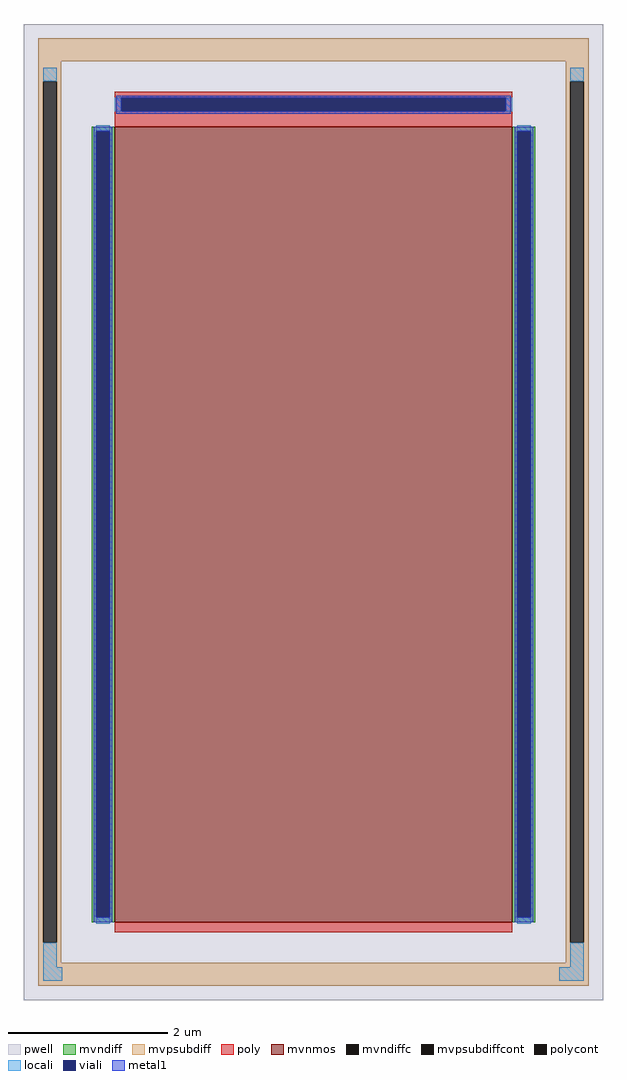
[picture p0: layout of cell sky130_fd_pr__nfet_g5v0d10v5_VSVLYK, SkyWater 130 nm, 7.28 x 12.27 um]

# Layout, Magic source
magic
tech sky130A
magscale 1 2
<< pwell >>
rect -728 -1227 728 1227
<< mvnmos >>
rect -500 -1031 500 969
<< mvndiff >>
rect -558 957 -500 969
rect -558 -1019 -546 957
rect -512 -1019 -500 957
rect -558 -1031 -500 -1019
rect 500 957 558 969
rect 500 -1019 512 957
rect 546 -1019 558 957
rect 500 -1031 558 -1019
<< mvndiffc >>
rect -546 -1019 -512 957
rect 512 -1019 546 957
<< mvpsubdiff >>
rect -692 1133 692 1191
rect -692 1083 -634 1133
rect -692 -1083 -680 1083
rect -646 -1083 -634 1083
rect 634 1083 692 1133
rect -692 -1133 -634 -1083
rect 634 -1083 646 1083
rect 680 -1083 692 1083
rect 634 -1133 692 -1083
rect -692 -1191 692 -1133
<< mvpsubdiffcont >>
rect -680 -1083 -646 1083
rect 646 -1083 680 1083
<< poly >>
rect -500 1041 500 1057
rect -500 1007 -484 1041
rect 484 1007 500 1041
rect -500 969 500 1007
rect -500 -1057 500 -1031
<< polycont >>
rect -484 1007 484 1041
<< locali >>
rect -680 1083 -646 1117
rect 646 1083 680 1117
rect -500 1007 -484 1041
rect 484 1007 500 1041
rect -546 957 -512 973
rect -546 -1035 -512 -1019
rect 512 957 546 973
rect 512 -1035 546 -1019
rect -680 -1145 -646 -1083
rect 646 -1145 680 -1083
rect -680 -1179 -632 -1145
rect 618 -1179 680 -1145
<< viali >>
rect -484 1007 484 1041
rect -546 -1019 -512 957
rect 512 -1019 546 957
<< metal1 >>
rect -496 1041 496 1047
rect -496 1007 -484 1041
rect 484 1007 496 1041
rect -496 1001 496 1007
rect -552 957 -506 969
rect -552 -1019 -546 957
rect -512 -1019 -506 957
rect -552 -1031 -506 -1019
rect 506 957 552 969
rect 506 -1019 512 957
rect 546 -1019 552 957
rect 506 -1031 552 -1019
<< properties >>
string FIXED_BBOX -663 -1162 663 1162
string gencell sky130_fd_pr__nfet_g5v0d10v5
string library sky130
string parameters w 10 l 5 m 1 nf 1 diffcov 100 polycov 100 guard 1 glc 1 grc 1 gtc 0 gbc 1 tbcov 100 rlcov 100 topc 1 botc 0 poverlap 0 doverlap 1 lmin 0.50 wmin 0.42 compatible {sky130_fd_pr__nfet_01v8 sky130_fd_pr__nfet_01v8_lvt  sky130_fd_bs_flash__special_sonosfet_star  sky130_fd_pr__nfet_g5v0d10v5 sky130_fd_pr__nfet_05v0_nvt  sky130_fd_pr__nfet_03v3_nvt} full_metal 1 viasrc 100 viadrn 100 viagate 100 viagb 0 viagr 0 viagl 0 viagt 0
<< end >>
